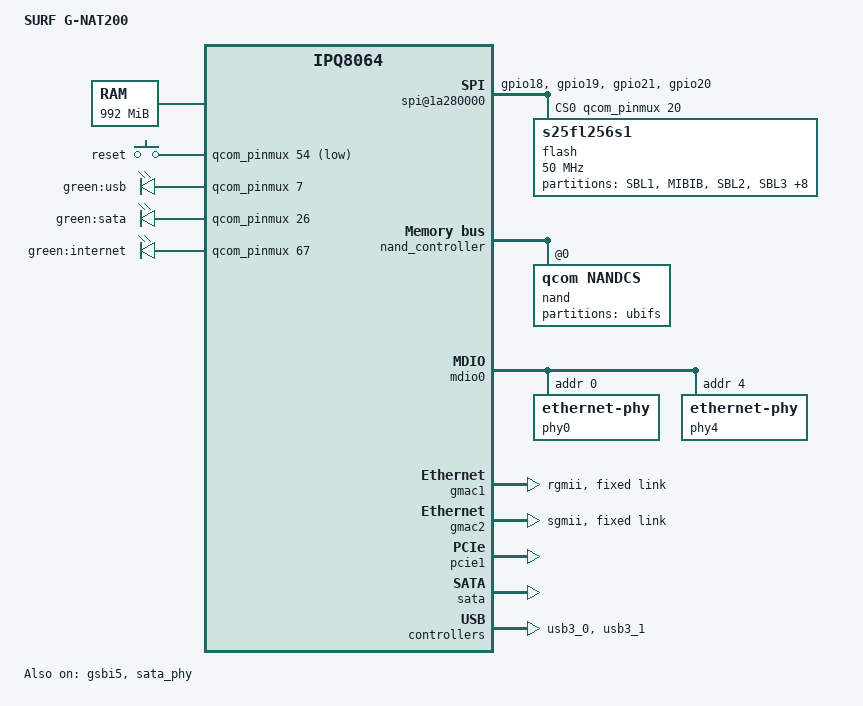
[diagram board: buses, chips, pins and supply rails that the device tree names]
// SPDX-License-Identifier: GPL-2.0-or-later

#include "qcom-ipq8064-v2.0.dtsi"

#include <dt-bindings/input/input.h>

/ {
	model = "SURF G-NAT200";
	compatible = "surf,g-nat200", "qcom,ipq8064";

	memory@0 {
		reg = <0x42000000 0x3e000000>;
		device_type = "memory";
	};

	aliases {
		led-boot = &led_usb;
		led-failsafe = &led_usb;
		led-upgrade = &led_usb;

		mdio-gpio0 = &mdio0;
	};

	keys {
		compatible = "gpio-keys";
		pinctrl-0 = <&button_pins>;
		pinctrl-names = "default";

		reset {
			label = "reset";
			gpios = <&qcom_pinmux 54 GPIO_ACTIVE_LOW>;
			linux,code = <KEY_RESTART>;
			debounce-interval = <60>;
			wakeup-source;
		};
	};

	leds {
		compatible = "gpio-leds";
		pinctrl-0 = <&led_pins>;
		pinctrl-names = "default";

		led_usb: usb {
			label = "green:usb";
			gpios = <&qcom_pinmux 7 GPIO_ACTIVE_HIGH>;
		};

		sata {
			label = "green:sata";
			gpios = <&qcom_pinmux 26 GPIO_ACTIVE_HIGH>;
		};

		internet {
			label = "green:internet";
			gpios = <&qcom_pinmux 67 GPIO_ACTIVE_HIGH>;
		};
	};
};

&qcom_pinmux {
	led_pins: led_pins {
		mux {
			pins = "gpio7", "gpio26", "gpio67";
			function = "gpio";
			drive-strength = <2>;
			bias-pull-up;
		};
	};

	button_pins: button_pins {
		mux {
			pins = "gpio54";
			function = "gpio";
			drive-strength = <2>;
			bias-pull-up;
		};
	};

	spi_pins: spi_pins {
		mux {
			pins = "gpio18", "gpio19", "gpio21";
			function = "gsbi5";
			drive-strength = <10>;
			bias-none;
		};

		cs {
			pins = "gpio20";
			drive-strength = <12>;
		};
	};
};

&gsbi5 {
	qcom,mode = <GSBI_PROT_SPI>;
	status = "okay";

	spi@1a280000 {
		status = "okay";

		pinctrl-0 = <&spi_pins>;
		pinctrl-names = "default";

		cs-gpios = <&qcom_pinmux 20 GPIO_ACTIVE_HIGH>;

		flash@0 {
			compatible = "s25fl256s1";
			#address-cells = <1>;
			#size-cells = <1>;
			spi-max-frequency = <50000000>;
			reg = <0>;

			partitions {
				compatible = "fixed-partitions";
				#address-cells = <1>;
				#size-cells = <1>;

				SBL1@0 {
					label = "SBL1";
					reg = <0x0 0x20000>;
					read-only;
				};

				MIBIB@20000 {
					label = "MIBIB";
					reg = <0x20000 0x20000>;
					read-only;
				};

				SBL2@40000 {
					label = "SBL2";
					reg = <0x40000 0x40000>;
					read-only;
				};

				SBL3@80000 {
					label = "SBL3";
					reg = <0x80000 0x80000>;
					read-only;
				};

				DDRCONFIG@100000 {
					label = "DDRCONFIG";
					reg = <0x100000 0x10000>;
					read-only;
				};

				SSD@110000 {
					label = "SSD";
					reg = <0x110000 0x10000>;
					read-only;
				};

				TZ@120000 {
					label = "TZ";
					reg = <0x120000 0x80000>;
					read-only;
				};

				RPM@1a0000 {
					label = "RPM";
					reg = <0x1a0000 0x80000>;
					read-only;
				};

				APPSBL@220000 {
					label = "APPSBL";
					reg = <0x220000 0x80000>;
					read-only;
				};

				APPSBLENV@2a0000 {
					label = "APPSBLENV";
					reg = <0x2a0000 0x40000>;
					read-only;
				};

				ART: ART@2e0000 {
					label = "ART";
					reg = <0x2e0000 0x40000>;
					read-only;
				};

				firmware@320000 {
					compatible = "denx,uimage";
					label = "firmware";
					reg = <0x320000 0x1a00000>;
				};
			};
		};
	};
};

&nand_controller {
	status = "okay";

	pinctrl-0 = <&nand_pins>;
	pinctrl-names = "default";

	nand@0 {
		reg = <0>;
		compatible = "qcom,nandcs";

		nand-ecc-strength = <4>;
		nand-bus-width = <8>;
		nand-ecc-step-size = <512>;

		partitions {
			compatible = "fixed-partitions";
			#address-cells = <1>;
			#size-cells = <1>;

			partition@0 {
				label = "ubifs";
				reg = <0x0 0x1eaac000>;
			};
		};
	};
};

&mdio0 {
	status = "okay";

	pinctrl-0 = <&mdio0_pins>;
	pinctrl-names = "default";

	phy0: ethernet-phy@0 {
		reg = <0>;
		qca,ar8327-initvals = <
			0x00004 0x7600000   /* PAD0_MODE */
			0x00008 0x1000000   /* PAD5_MODE */
			0x0000c 0x80        /* PAD6_MODE */
			0x000e4 0x6a545     /* MAC_POWER_SEL */
			0x000e0 0xc74164de  /* SGMII_CTRL */
			0x0007c 0x4e        /* PORT0_STATUS */
			0x00094 0x4e        /* PORT6_STATUS */
			>;
	};

	phy4: ethernet-phy@4 {
		reg = <4>;
	};
};

&gmac1 {
	status = "okay";
	compatible = "qcom,nss-gmac";
	reg = <0x37200000 0x200000>;
	interrupts = <GIC_SPI 223 IRQ_TYPE_LEVEL_HIGH>;
	phy-mode = "rgmii";
	qcom,id = <1>;
	qcom,pcs-chanid = <0>;
	qcom,phy-mdio-addr = <4>;
	qcom,poll-required = <0>;
	qcom,rgmii-delay = <1>;
	qcom,phy_mii_type = <0>;
	qcom,emulation = <0>;
	qcom,forced-speed = <1000>;
	qcom,forced-duplex = <1>;
	qcom,socver = <0>;
	qcom,irq = <255>;
	mdiobus = <&mdio0>;

	pinctrl-0 = <&rgmii2_pins>;
	pinctrl-names = "default";

	mtd-mac-address = <&ART 0x6>;

	fixed-link {
		speed = <1000>;
		full-duplex;
	};
};

&gmac2 {
	status = "okay";
	compatible = "qcom,nss-gmac";
	reg = <0x37400000 0x200000>;
	interrupts = <GIC_SPI 226 IRQ_TYPE_LEVEL_HIGH>;
	phy-mode = "sgmii";
	qcom,id = <2>;
	qcom,pcs-chanid = <1>;
	qcom,phy-mdio-addr = <0>;
	qcom,poll-required = <0>;
	qcom,rgmii-delay = <0>;
	qcom,phy_mii_type = <1>;
	qcom,emulation = <0>;
	qcom,forced-speed = <1000>;
	qcom,forced-duplex = <1>;
	qcom,socver = <0>;
	qcom,irq = <258>;
	mdiobus = <&mdio0>;

	mtd-mac-address = <&ART 0xc>;

	fixed-link {
		speed = <1000>;
		full-duplex;
	};
};

&adm_dma {
	status = "okay";
};

&pcie1 {
	status = "okay";
	max-link-speed = <1>;
};

&sata_phy {
	status = "okay";
};

&sata {
	status = "okay";
};

&usb3_0 {
	status = "okay";
};

&usb3_1 {
	status = "okay";
};
